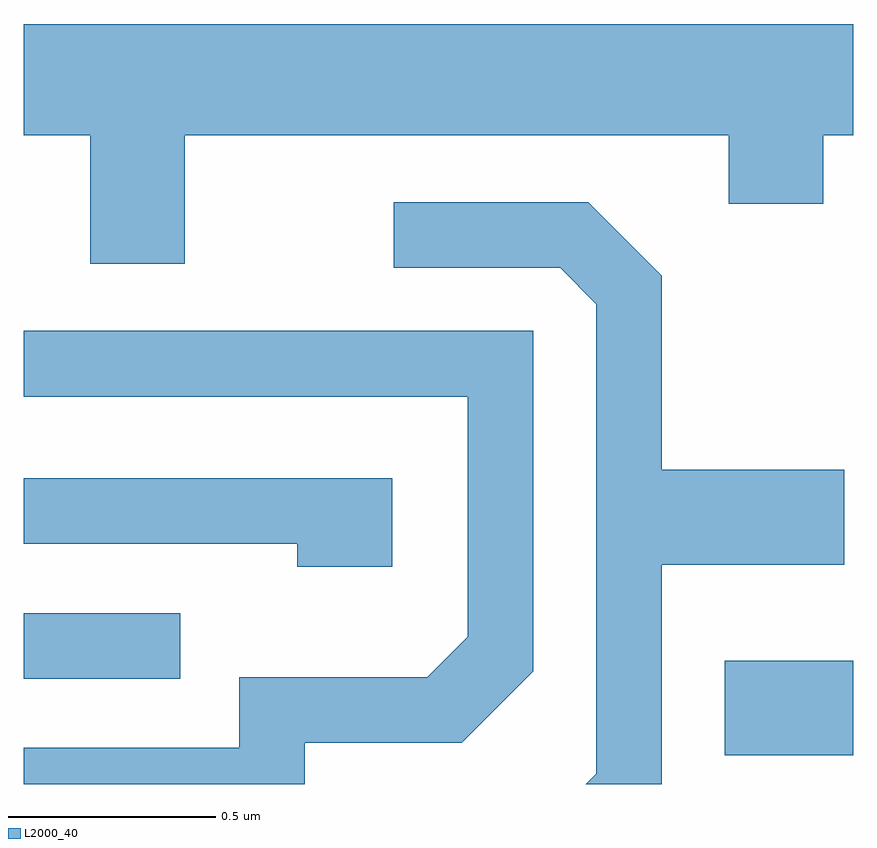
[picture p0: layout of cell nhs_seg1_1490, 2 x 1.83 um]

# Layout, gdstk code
import gdstk
lib = gdstk.Library(unit=1e-6, precision=1e-09)
def R(c, l, rs):  # rectangles x0, y0, x1, y1
    for r in rs: c.add(gdstk.rectangle(r[:2], r[2:], *l))
def P(c, l, *ps):  # polygons
    for p in ps: c.add(gdstk.Polygon(p, *l))
L2000_40 = (2000, 40)

nhs_seg1_1490 = lib.new_cell('nhs_seg1_1490')
R(nhs_seg1_1490, L2000_40, [(197.301,975.781,197.611,976.009), (195.611,975.966,195.988,976.124)])
P(nhs_seg1_1490, L2000_40, [(195.999,977.276),(197.311,977.276),(197.311,977.111),(197.539,977.111),(197.539,977.276),(197.611,977.276),(197.611,977.544),(195.611,977.544),(195.611,977.276),(195.771,977.276),(195.771,976.966),(195.999,976.966)],
  [(197.149,976.241),(197.589,976.241),(197.589,976.469),(197.149,976.469),(197.149,976.937),(196.972,977.114),(196.503,977.114),(196.503,976.956),(196.904,976.956),(196.991,976.869),(196.991,975.737),(196.966,975.712),(197.149,975.712)],
  [(196.289,975.811),(196.667,975.811),(196.839,975.984),(196.839,976.804),(195.611,976.804),(195.611,976.646),(196.681,976.646),(196.681,976.067),(196.584,975.969),(196.131,975.969),(196.131,975.799),(195.611,975.799),(195.611,975.712),(196.289,975.712)],
  [(196.499,976.449),(195.611,976.449),(195.611,976.291),(196.271,976.291),(196.271,976.236),(196.499,976.236)])

lib.write_gds('nhs_seg1_1490.gds')
